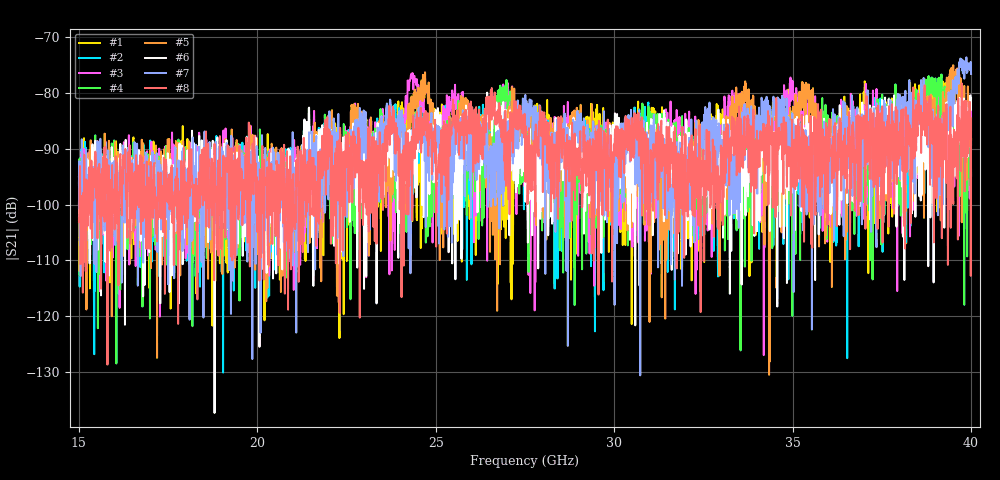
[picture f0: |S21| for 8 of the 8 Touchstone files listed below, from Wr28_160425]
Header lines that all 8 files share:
#  HZ  S  RI  R  50.00
! Rohde & Schwarz Vector Network Analyzer
! Rohde-Schwarz,ZNA43-4Port,1332450044101932,2.92
! freq[Hz]  re:S11  im:S11  re:S21  im:S21  re:S12  im:S12  re:S22  im:S22
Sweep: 15 GHz to 40 GHz
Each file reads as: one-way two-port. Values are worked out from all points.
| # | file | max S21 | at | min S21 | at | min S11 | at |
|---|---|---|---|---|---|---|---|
| 1 | s1.s2p | -77.91 dB | 37.02 GHz | -123.9 dB | 22.3 GHz | -5.5 dB | 21.31 GHz |
| 2 | s2.s2p | -79.37 dB | 27.03 GHz | -130.1 dB | 19.04 GHz | -45.2 dB | 24.19 GHz |
| 3 | s3l8p1.s2p | -76.45 dB | 24.35 GHz | -127.0 dB | 34.19 GHz | -6.3 dB | 21.29 GHz |
| 4 | s3l8p2.s2p | -76.66 dB | 39.17 GHz | -128.5 dB | 16.05 GHz | -42.0 dB | 26.72 GHz |
| 5 | sl4p1.s2p | -75.02 dB | 39.5 GHz | -130.5 dB | 34.34 GHz | -6.1 dB | 21.3 GHz |
| 6 | sl4p2.s2p | -79.94 dB | 26.44 GHz | -137.3 dB | 18.8 GHz | -49.2 dB | 24.23 GHz |
| 7 | sl8p1.s2p | -73.61 dB | 39.87 GHz | -130.6 dB | 30.73 GHz | -5.8 dB | 21.3 GHz |
| 8 | sl8p2.s2p | -78.29 dB | 39.74 GHz | -128.7 dB | 15.8 GHz | -45.4 dB | 28.19 GHz |
